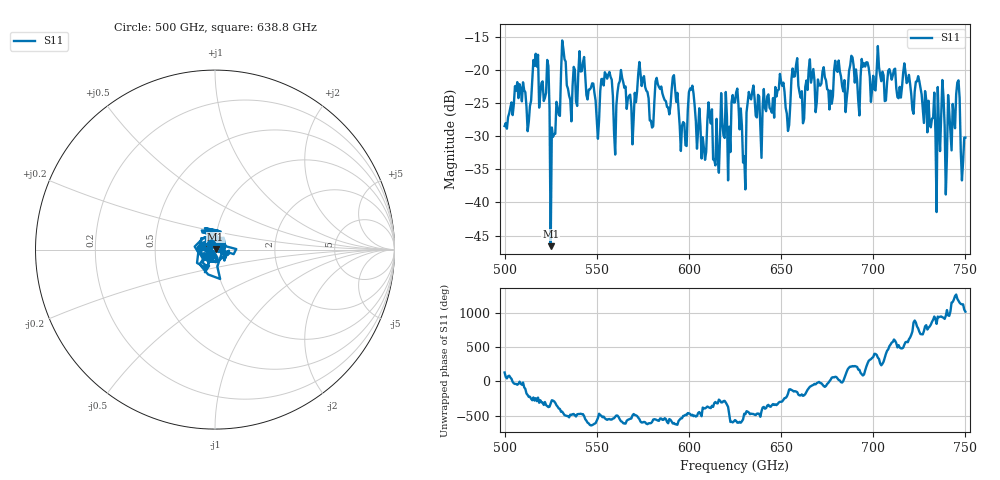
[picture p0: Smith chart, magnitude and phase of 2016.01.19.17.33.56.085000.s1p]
!Created with skrf (http://scikit-rf.org).
# GHz S RI R 50.0
!freq ReS11 ImS11
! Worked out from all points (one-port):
!   401 points, 500 GHz to 750 GHz, reference 50 ohm
!   lowest |S11| = -46.6 dB at 525 GHz (marker M1), VSWR 1.01, Z = 50.4 + j0.308 ohm
!   |S11| at or under -10 dB: start of sweep to end of sweep
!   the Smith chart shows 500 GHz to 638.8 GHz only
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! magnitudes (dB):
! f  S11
! 500 GHz  -28.5
! 506.9 GHz  -21.9
! 513.1 GHz  -27.8
! 516.9 GHz  -17.6
! 523.1 GHz  -18.5
! 525 GHz  -46.6
! 526.2 GHz  -30.1
! 531.2 GHz  -15.6
! 535.6 GHz  -24.5
! 541.9 GHz  -20.2
! 550 GHz  -27.7
! 562.5 GHz  -21.7
! 593.8 GHz  -23.5
! 597.5 GHz  -28.1
! 601.2 GHz  -23.0
! 608.1 GHz  -31.8
! 615 GHz  -27.4
! 625 GHz  -24.9
! 630 GHz  -33.0
! 633.8 GHz  -24.5
! 650.6 GHz  -22.4
! 653.8 GHz  -29.2
! 656.2 GHz  -19.8
! 687.5 GHz  -19.4
! 718.8 GHz  -21.7
! 735 GHz  -22.6
! 745.6 GHz  -21.9
! 750 GHz  -30.2
